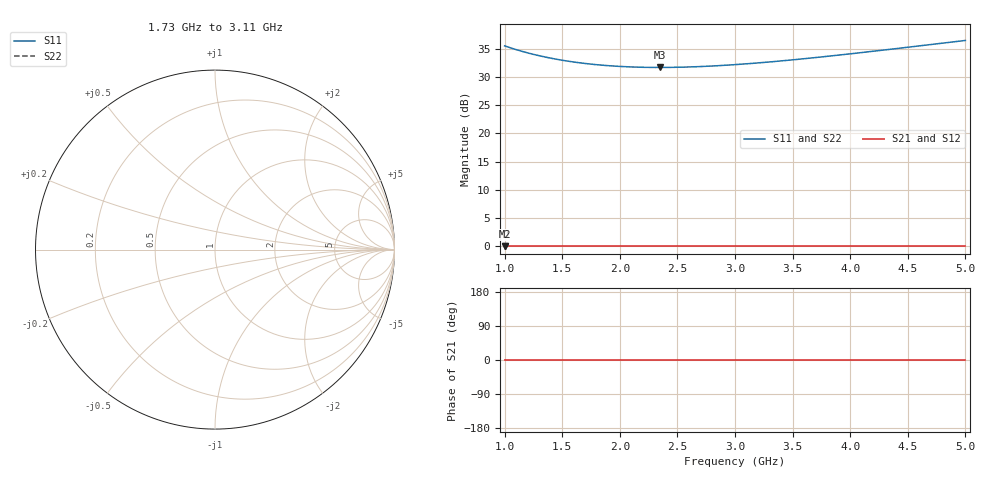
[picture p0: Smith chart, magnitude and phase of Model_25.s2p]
# GHZ S RI R 50
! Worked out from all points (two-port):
!   401 points, 1 GHz to 5 GHz, reference 50 ohm
!   highest |S21| = 0.00 dB at 1 GHz (marker M1); lowest = 0.0 dB at 1 GHz (marker M2)
!   |S21| within 3 dB of the highest: start of sweep to end of sweep
!   lowest |S11| = 31.7 dB at 2.35 GHz (marker M3)
!   |S11| at or under -10 dB: nowhere
!   |S22| runs from 31.7 to 36.5 dB; largest |S21 - S12| = 0
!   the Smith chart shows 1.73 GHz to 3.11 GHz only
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1  59.56 0  1 0  1 0  59.56 0
1.02  58.6 0  1 0  1 0  58.6 0
1.15  53.29 0  1 0  1 0  53.29 0
1.22  50.97 0  1 0  1 0  50.97 0
1.3  48.71 0  1 0  1 0  48.71 0
1.38  46.78 0  1 0  1 0  46.78 0
1.47  44.95 0  1 0  1 0  44.95 0
1.57  43.27 0  1 0  1 0  43.27 0
1.67  41.91 0  1 0  1 0  41.91 0
1.82  40.36 0  1 0  1 0  40.36 0
1.98  39.25 0  1 0  1 0  39.25 0
2.15  38.58 0  1 0  1 0  38.58 0
2.34  38.33 0  1 0  1 0  38.33 0
2.35  38.33 0  1 0  1 0  38.33 0
2.66  38.89 0  1 0  1 0  38.89 0
3  40.6 0  1 0  1 0  40.6 0
3.33  43.15 0  1 0  1 0  43.15 0
3.67  46.58 0  1 0  1 0  46.58 0
4  50.6 0  1 0  1 0  50.6 0
4.34  55.41 0  1 0  1 0  55.41 0
4.64  60.17 0  1 0  1 0  60.17 0
5  66.5 0  1 0  1 0  66.5 0
